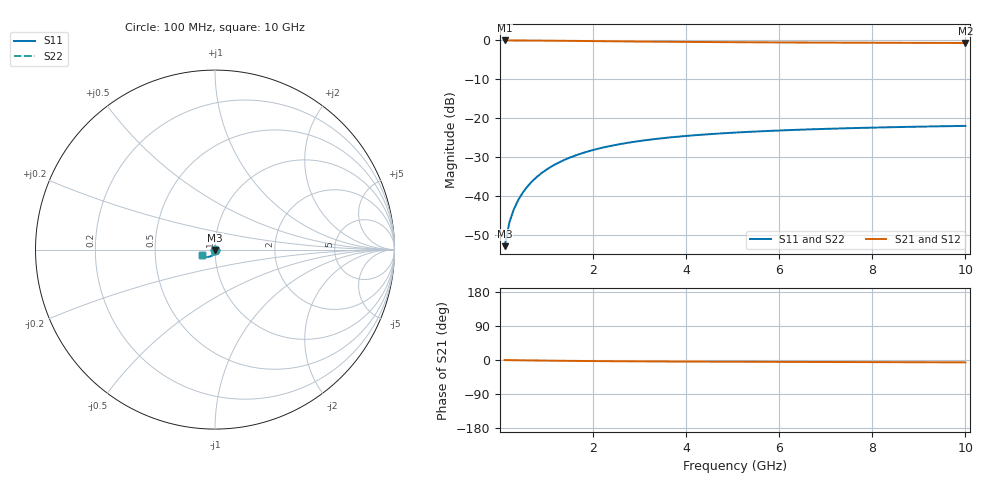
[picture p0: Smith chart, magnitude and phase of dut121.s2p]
! Touchstone file exported from HFSS 2024.1.0
!  File:  C:/UserFiles/LocalFiles/RDL_TSV_Batchsim/temp_TSV1_121_1779378853.aedt
!  Generated:  11:58:23 PM May 21, 2026
!  Design:  TSV1
!  Project:  temp_TSV1_121_1779378853
!  Setup:  Setup1
!  Solution:  Sweep
! Variables:
!  dtsv = 14.8um
!  hbump = 3um
!  htsv = 94.27um
!  lrdl = 252.1521522um
!  p = 40
!  p1 = 47.23um
!  t = 500um
!  trdl = 3um
!  wrdl = 24.89489489um
# GHz S MA R 50.000000
! Terminal data exported
! Port[1] = TSV22_T1
! Port[2] = TSV22_T2
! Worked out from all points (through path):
!   100 points, 100 MHz to 10 GHz, reference 50 ohm
!   highest |S21| = 0.00 dB at 100 MHz (marker M1); lowest = -0.6 dB at 10 GHz (marker M2)
!   lowest |S11| = -52.9 dB at 100 MHz (marker M3), VSWR 1.00, Z = 50 - j0.227 ohm
!   |S11| at or under -10 dB: start of sweep to end of sweep
!   |S22| runs from -52.9 to -22.0 dB; largest |S21 - S12| = 5.1e-15
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0.1  0.002271 -89.4  0.9998 -0.2  0.9998 -0.2  0.002271 -89.4
! Gamma 0 0 0 0
! Port Impedance 50 0 50 0
0.2  0.004543 -92.0  0.9996 -0.3  0.9996 -0.3  0.004543 -92.0
0.3  0.006811 -94.0  0.9993 -0.5  0.9993 -0.5  0.006811 -94.0
0.4  0.009066 -95.8  0.9988 -0.7  0.9988 -0.7  0.009066 -95.8
0.5  0.0113 -97.5  0.9982 -0.9  0.9982 -0.9  0.0113 -97.5
0.6  0.0135 -99.3  0.9975 -1.0  0.9975 -1.0  0.0135 -99.3
0.7  0.01566 -100.9  0.9967 -1.2  0.9967 -1.2  0.01566 -100.9
0.8  0.01778 -102.6  0.9959 -1.3  0.9959 -1.3  0.01778 -102.6
0.9  0.01986 -104.2  0.9949 -1.5  0.9949 -1.5  0.01986 -104.2
1.1  0.02386 -107.2  0.9928 -1.8  0.9928 -1.8  0.02386 -107.2
1.4  0.02945 -111.6  0.9891 -2.2  0.9891 -2.2  0.02945 -111.6
1.6  0.03288 -114.2  0.9866 -2.4  0.9866 -2.4  0.03288 -114.2
1.8  0.03609 -116.8  0.9839 -2.6  0.9839 -2.6  0.03609 -116.8
2.1  0.04048 -120.3  0.9799 -2.9  0.9799 -2.9  0.04048 -120.3
2.5  0.0456 -124.5  0.9747 -3.2  0.9747 -3.2  0.0456 -124.5
2.9  0.05 -128.1  0.9697 -3.5  0.9697 -3.5  0.05 -128.1
3.4  0.05466 -132.1  0.9641 -3.8  0.9641 -3.8  0.05466 -132.1
4.2  0.06059 -137.3  0.9564 -4.2  0.9564 -4.2  0.06059 -137.3
5.1  0.06569 -141.9  0.9493 -4.6  0.9493 -4.6  0.06569 -141.9
6.7  0.07213 -148.0  0.94 -5.1  0.94 -5.1  0.07213 -148.0
8.4  0.07673 -152.6  0.933 -5.7  0.933 -5.7  0.07673 -152.6
10  0.07979 -156.0  0.9283 -6.2  0.9283 -6.2  0.07979 -156.0
